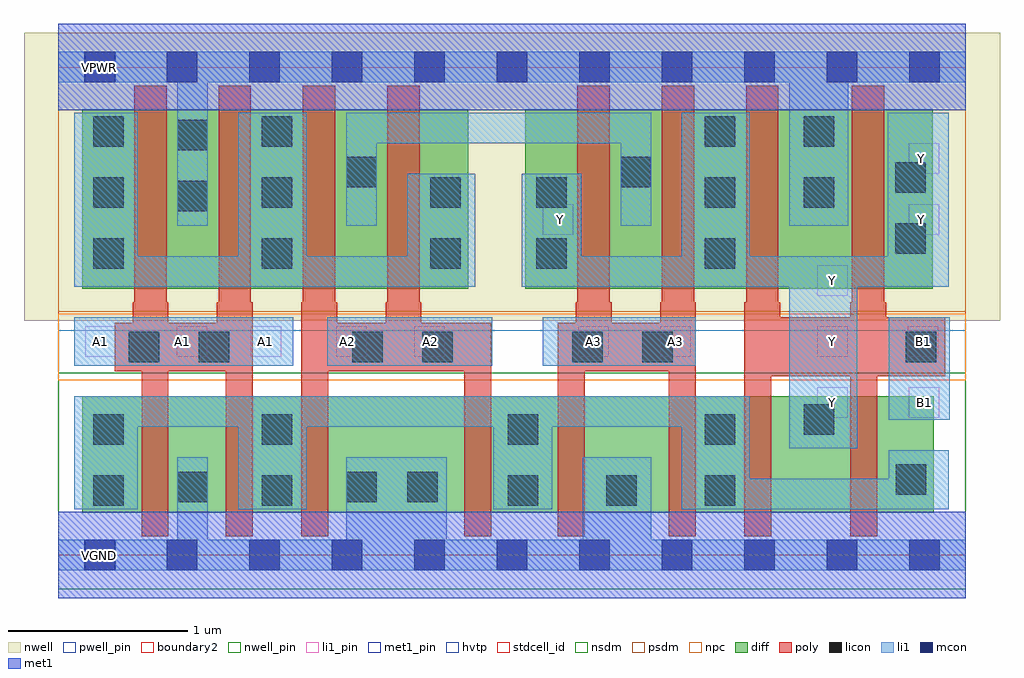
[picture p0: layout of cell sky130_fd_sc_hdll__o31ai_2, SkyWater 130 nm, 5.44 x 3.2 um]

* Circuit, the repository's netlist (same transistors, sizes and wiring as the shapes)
* Copyright 2020 The SkyWater PDK Authors
*
* Licensed under the Apache License, Version 2.0 (the "License");
* you may not use this file except in compliance with the License.
* You may obtain a copy of the License at
*
*     https://www.apache.org/licenses/LICENSE-2.0
*
* Unless required by applicable law or agreed to in writing, software
* distributed under the License is distributed on an "AS IS" BASIS,
* WITHOUT WARRANTIES OR CONDITIONS OF ANY KIND, either express or implied.
* See the License for the specific language governing permissions and
* limitations under the License.
*
* SPDX-License-Identifier: Apache-2.0

.SUBCKT sky130_fd_sc_hdll__o31ai_2 A1 A2 A3 B1 VGND VNB VPB VPWR Y
*.PININFO A1:I A2:I A3:I B1:I VGND:I VNB:I VPB:I VPWR:I Y:O
MMPA0 VPWR A1 sndA1 VPB sky130_fd_pr__pfet_01v8_hvt m=2 w=1.0U l=0.18U mult=1 sa=0.265
+ sb=0.265 sd=0.28 area=0.063 perim=1.14
MMPA1 sndA1 A2 sndA2 VPB sky130_fd_pr__pfet_01v8_hvt m=2 w=1.0U l=0.18U mult=1
+ sa=0.265 sb=0.265 sd=0.28 area=0.063 perim=1.14
MMPA2 sndA2 A3 Y VPB sky130_fd_pr__pfet_01v8_hvt m=2 w=1.0U l=0.18U mult=1 sa=0.265
+ sb=0.265 sd=0.28 area=0.063 perim=1.14
MMPB0 VPWR B1 Y VPB sky130_fd_pr__pfet_01v8_hvt m=2 w=1.0U l=0.18U mult=1 sa=0.265
+ sb=0.265 sd=0.28 area=0.063 perim=1.14
MMNA0 pndA A1 VGND VNB sky130_fd_pr__nfet_01v8 m=2 w=0.65U l=0.15U mult=1 sa=0.265
+ sb=0.265 sd=0.28 area=0.063 perim=1.14
MMNA1 pndA A2 VGND VNB sky130_fd_pr__nfet_01v8 m=2 w=0.65U l=0.15U mult=1 sa=0.265
+ sb=0.265 sd=0.28 area=0.063 perim=1.14
MMNA2 pndA A3 VGND VNB sky130_fd_pr__nfet_01v8 m=2 w=0.65U l=0.15U mult=1 sa=0.265
+ sb=0.265 sd=0.28 area=0.063 perim=1.14
MMNB0 Y B1 pndA VNB sky130_fd_pr__nfet_01v8 m=2 w=0.65U l=0.15U mult=1 sa=0.265
+ sb=0.265 sd=0.28 area=0.063 perim=1.14
.ENDS sky130_fd_sc_hdll__o31ai_2

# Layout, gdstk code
import gdstk
lib = gdstk.Library(unit=1e-6, precision=1e-09)
def R(c, l, rs):  # rectangles x0, y0, x1, y1
    for r in rs: c.add(gdstk.rectangle(r[:2], r[2:], *l))
def A(c, l, x, y, w, h, nx, ny, dx, dy):  # array of equal rectangles
    R(c, l, [(x+i*dx, y+j*dy, x+i*dx+w, y+j*dy+h) for i in range(nx) for j in range(ny)])
def P(c, l, *ps):  # polygons
    for p in ps: c.add(gdstk.Polygon(p, *l))
nwell_pin = (64, 16)
nwell = (64, 20)
diff = (65, 20)
poly = (66, 20)
licon = (66, 44)
li1_pin = (67, 16)
li1 = (67, 20)
mcon = (67, 44)
met1_pin = (68, 16)
met1 = (68, 20)
hvtp = (78, 44)
stdcell_id = (81, 4)
nsdm = (93, 44)
psdm = (94, 20)
npc = (95, 20)
pwell_pin = (122, 16)
boundary2 = (236, 0)

sky130_fd_sc_hdll__o31ai = lib.new_cell('sky130_fd_sc_hdll__o31ai_2')
R(sky130_fd_sc_hdll__o31ai, nwell_pin, [(0.15,2.635,0.32,2.805)])
R(sky130_fd_sc_hdll__o31ai, nwell, [(-0.19,1.305,5.25,2.91)])
R(sky130_fd_sc_hdll__o31ai, diff, [(0.135,0.235,4.88,0.885), (0.135,1.485,2.285,2.485), (2.605,1.485,4.875,2.485)])
P(sky130_fd_sc_hdll__o31ai, poly, [(1.085,1.41),(1.075,1.41),(1.075,2.615),(0.895,2.615),(0.895,1.41),(0.885,1.41),(0.885,1.295),(0.615,1.295),(0.615,1.41),(0.605,1.41),(0.605,2.615),(0.425,2.615),(0.425,1.41),(0.415,1.41),(0.415,1.295),(0.315,1.295),(0.315,1.025),(0.465,1.025),(0.465,0.105),(0.615,0.105),(0.615,1.025),(0.935,1.025),(0.935,0.105),(1.085,0.105)],
  [(2.415,1.295),(2.025,1.295),(2.025,1.41),(2.015,1.41),(2.015,2.615),(1.835,2.615),(1.835,1.41),(1.825,1.41),(1.825,1.295),(1.555,1.295),(1.555,1.41),(1.545,1.41),(1.545,2.615),(1.365,2.615),(1.365,1.41),(1.355,1.41),(1.355,0.105),(1.505,0.105),(1.505,1.025),(2.265,1.025),(2.265,0.105),(2.415,0.105)],
  [(3.555,1.41),(3.545,1.41),(3.545,2.615),(3.365,2.615),(3.365,1.41),(3.355,1.41),(3.355,1.295),(3.085,1.295),(3.085,1.41),(3.075,1.41),(3.075,2.615),(2.895,2.615),(2.895,1.41),(2.885,1.41),(2.885,1.295),(2.785,1.295),(2.785,0.105),(2.935,0.105),(2.935,1.025),(3.405,1.025),(3.405,0.105),(3.555,0.105)],
  [(4.945,1.325),(4.615,1.325),(4.615,1.41),(4.605,1.41),(4.605,2.615),(4.425,2.615),(4.425,1.41),(4.415,1.41),(4.415,1.325),(4.025,1.325),(4.025,1.41),(4.015,1.41),(4.015,2.615),(3.835,2.615),(3.835,1.41),(3.825,1.41),(3.825,0.105),(3.975,0.105),(3.975,0.995),(4.415,0.995),(4.415,0.105),(4.565,0.105),(4.565,0.995),(4.945,0.995)])
A(sky130_fd_sc_hdll__o31ai, licon, 2.505, 0.275, 0.17, 0.17, 3, 1, 0.55, 0)
A(sky130_fd_sc_hdll__o31ai, licon, 0.195, 1.595, 0.17, 0.17, 3, 2, 0.94, 0.34)
A(sky130_fd_sc_hdll__o31ai, licon, 3.605, 1.595, 0.17, 0.17, 1, 3, 0, 0.34)
R(sky130_fd_sc_hdll__o31ai, licon, [(0.195,0.275,0.365,0.445), (1.135,0.275,1.305,0.445), (0.665,0.295,0.835,0.465), (1.605,0.295,1.775,0.465), (1.945,0.295,2.115,0.465), (4.67,0.335,4.84,0.505), (0.195,0.615,0.365,0.785), (1.135,0.615,1.305,0.785), (2.505,0.615,2.675,0.785), (3.605,0.615,3.775,0.785), (4.155,0.67,4.325,0.84), (0.395,1.075,0.565,1.245), (0.785,1.075,0.955,1.245), (1.64,1.075,1.81,1.245), (2.03,1.075,2.2,1.245), (2.865,1.075,3.035,1.245), (3.255,1.075,3.425,1.245), (4.725,1.075,4.895,1.245), (2.665,1.595,2.835,1.765), (4.665,1.68,4.835,1.85), (0.665,1.915,0.835,2.085), (2.665,1.935,2.835,2.105), (4.155,1.935,4.325,2.105), (4.665,2.02,4.835,2.19), (1.605,2.05,1.775,2.22), (3.135,2.05,3.305,2.22), (0.665,2.255,0.835,2.425), (0.195,2.275,0.365,2.445), (1.135,2.275,1.305,2.445), (4.155,2.275,4.325,2.445)])
A(sky130_fd_sc_hdll__o31ai, li1_pin, 4.23, 0.765, 0.17, 0.17, 1, 3, 0, 0.34)
R(sky130_fd_sc_hdll__o31ai, li1_pin, [(4.74,0.765,4.91,0.935), (0.15,1.105,0.32,1.275), (0.66,1.105,0.83,1.275), (1.075,1.105,1.245,1.275), (1.55,1.105,1.72,1.275), (1.985,1.105,2.155,1.275), (2.9,1.105,3.07,1.275), (3.355,1.105,3.525,1.275), (4.735,1.105,4.905,1.275), (2.7,1.785,2.87,1.955), (4.74,1.785,4.91,1.955), (4.74,2.125,4.91,2.295)])
R(sky130_fd_sc_hdll__o31ai, li1, [(4.63,0.755,4.97,1.325), (0.09,1.055,1.31,1.325), (1.5,1.055,2.42,1.325), (2.7,1.055,3.555,1.325)])
P(sky130_fd_sc_hdll__o31ai, li1, [(4.965,2.465),(4.625,2.465),(4.625,1.665),(3.855,1.665),(3.855,2.465),(3.475,2.465),(3.475,1.665),(2.915,1.665),(2.915,2.125),(2.585,2.125),(2.585,1.495),(4.075,1.495),(4.075,0.595),(4.455,0.595),(4.455,1.495),(4.965,1.495)],
  [(5.06,2.805),(0,2.805),(0,2.635),(0.665,2.635),(0.665,1.835),(0.835,1.835),(0.835,2.635),(4.075,2.635),(4.075,1.835),(4.405,1.835),(4.405,2.635),(5.06,2.635)],
  [(4.965,0.585),(4.63,0.585),(4.63,0.425),(3.855,0.425),(3.855,0.885),(0.09,0.885),(0.09,0.255),(0.445,0.255),(0.445,0.715),(1.005,0.715),(1.005,0.255),(1.385,0.255),(1.385,0.715),(2.425,0.715),(2.425,0.255),(2.755,0.255),(2.755,0.715),(3.475,0.715),(3.475,0.255),(4.965,0.255)],
  [(5.06,0.085),(3.305,0.085),(3.305,0.545),(2.925,0.545),(2.925,0.085),(2.165,0.085),(2.165,0.545),(1.605,0.545),(1.605,0.085),(0.835,0.085),(0.835,0.545),(0.665,0.545),(0.665,0.085),(0,0.085),(0,-0.085),(5.06,-0.085)],
  [(2.325,2.125),(1.945,2.125),(1.945,1.665),(1.385,1.665),(1.385,2.465),(1.005,2.465),(1.005,1.665),(0.445,1.665),(0.445,2.465),(0.09,2.465),(0.09,1.495),(2.325,1.495)],
  [(3.305,2.465),(1.605,2.465),(1.605,1.835),(1.775,1.835),(1.775,2.295),(3.135,2.295),(3.135,1.835),(3.305,1.835)])
A(sky130_fd_sc_hdll__o31ai, mcon, 0.145, -0.085, 0.17, 0.17, 11, 2, 0.46, 2.72)
R(sky130_fd_sc_hdll__o31ai, met1_pin, [(0.15,-0.085,0.32,0.085), (0.15,2.635,0.32,2.805)])
R(sky130_fd_sc_hdll__o31ai, met1, [(0,-0.24,5.06,0.24), (0,2.48,5.06,2.96)])
R(sky130_fd_sc_hdll__o31ai, hvtp, [(0,1.25,5.06,2.72)])
R(sky130_fd_sc_hdll__o31ai, stdcell_id, [(0,0,5.06,2.72)])
R(sky130_fd_sc_hdll__o31ai, nsdm, [(0,-0.19,5.06,1.015)])
R(sky130_fd_sc_hdll__o31ai, psdm, [(0,1.355,5.06,2.91)])
R(sky130_fd_sc_hdll__o31ai, npc, [(0,0.975,5.06,1.345)])
R(sky130_fd_sc_hdll__o31ai, pwell_pin, [(0.15,-0.085,0.32,0.085)])
R(sky130_fd_sc_hdll__o31ai, boundary2, [(0,0,5.06,2.72)])
sky130_fd_sc_hdll__o31ai.add(gdstk.Label('A1', (0.695,1.19), layer=67, texttype=5))
sky130_fd_sc_hdll__o31ai.add(gdstk.Label('A1', (0.235,1.19), layer=67, texttype=5))
sky130_fd_sc_hdll__o31ai.add(gdstk.Label('Y', (4.81,2.21), layer=67, texttype=5))
sky130_fd_sc_hdll__o31ai.add(gdstk.Label('Y', (4.315,1.53), layer=67, texttype=5))
sky130_fd_sc_hdll__o31ai.add(gdstk.Label('Y', (4.315,1.19), layer=67, texttype=5))
sky130_fd_sc_hdll__o31ai.add(gdstk.Label('Y', (2.8,1.87), layer=67, texttype=5))
sky130_fd_sc_hdll__o31ai.add(gdstk.Label('Y', (4.81,1.87), layer=67, texttype=5))
sky130_fd_sc_hdll__o31ai.add(gdstk.Label('Y', (4.315,0.85), layer=67, texttype=5))
sky130_fd_sc_hdll__o31ai.add(gdstk.Label('B1', (4.83,0.85), layer=67, texttype=5))
sky130_fd_sc_hdll__o31ai.add(gdstk.Label('B1', (4.825,1.19), layer=67, texttype=5))
sky130_fd_sc_hdll__o31ai.add(gdstk.Label('A3', (3.44,1.19), layer=67, texttype=5))
sky130_fd_sc_hdll__o31ai.add(gdstk.Label('A3', (2.985,1.19), layer=67, texttype=5))
sky130_fd_sc_hdll__o31ai.add(gdstk.Label('A2', (2.075,1.19), layer=67, texttype=5))
sky130_fd_sc_hdll__o31ai.add(gdstk.Label('A2', (1.615,1.19), layer=67, texttype=5))
sky130_fd_sc_hdll__o31ai.add(gdstk.Label('A1', (1.155,1.19), layer=67, texttype=5))
sky130_fd_sc_hdll__o31ai.add(gdstk.Label('VGND', (0.23,0), layer=68, texttype=5))
sky130_fd_sc_hdll__o31ai.add(gdstk.Label('VPWR', (0.23,2.72), layer=68, texttype=5))
sky130_fd_sc_hdll__o31ai.add(gdstk.Label('VPB', (0.235,2.72), layer=64, texttype=5))
sky130_fd_sc_hdll__o31ai.add(gdstk.Label('VNB', (0.235,0), layer=64, texttype=59))
sky130_fd_sc_hdll__o31ai.add(gdstk.Label('o31ai_2', (0,0), layer=83, texttype=44))

lib.write_gds('sky130_fd_sc_hdll__o31ai_2.gds')
